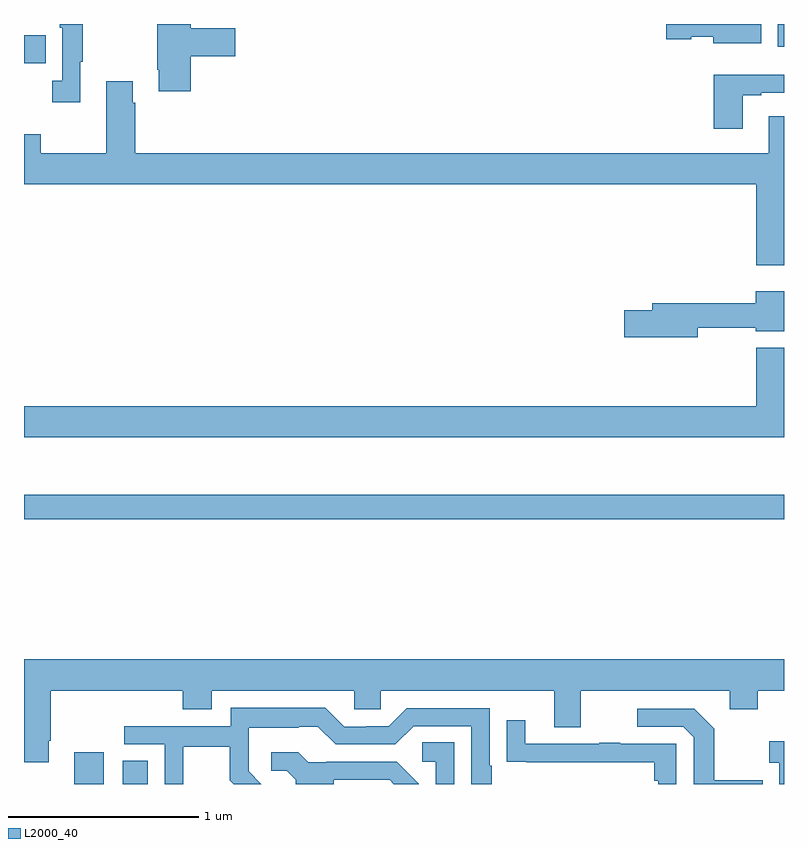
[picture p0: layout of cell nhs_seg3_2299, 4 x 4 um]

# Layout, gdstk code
import gdstk
lib = gdstk.Library(unit=1e-6, precision=1e-09)
def R(c, l, rs):  # rectangles x0, y0, x1, y1
    for r in rs: c.add(gdstk.rectangle(r[:2], r[2:], *l))
def P(c, l, *ps):  # polygons
    for p in ps: c.add(gdstk.Polygon(p, *l))
L2000_40 = (2000, 40)

nhs_seg3_2299 = lib.new_cell('nhs_seg3_2299')
R(nhs_seg3_2299, L2000_40, [(229.265,724.4,229.42,724.567), (229.52,724.4,229.651,724.523), (229,725.794,233,725.923), (229,728.194,229.115,728.341), (232.967,728.28,233,728.4)])
P(nhs_seg3_2299, L2000_40, [(232.879,728.4),(232.38,728.4),(232.38,728.321),(232.512,728.321),(232.512,728.333),(232.628,728.333),(232.628,728.3),(232.879,728.3)],
  [(229.877,728.231),(230.113,728.231),(230.113,728.378),(229.877,728.378),(229.877,728.4),(229.702,728.4),(229.702,728.158),(229.709,728.158),(229.709,728.046),(229.877,728.046)],
  [(229.297,728.201),(229.309,728.201),(229.309,728.4),(229.188,728.4),(229.188,728.381),(229.2,728.381),(229.2,728.102),(229.149,728.102),(229.149,727.989),(229.297,727.989)],
  [(232.783,728.025),(232.879,728.025),(232.879,728.037),(233,728.037),(233,728.134),(232.631,728.134),(232.631,727.848),(232.783,727.848)],
  [(233,727.915),(232.919,727.915),(232.919,727.72),(229.586,727.72),(229.586,727.985),(229.573,727.985),(229.573,728.098),(229.433,728.098),(229.433,727.72),(229.089,727.72),(229.089,727.819),(229,727.819),(229,727.556),(232.853,727.556),(232.853,727.131),(233,727.131)],
  [(232.546,726.801),(232.85,726.801),(232.85,726.782),(233,726.782),(233,726.994),(232.85,726.994),(232.85,726.929),(232.307,726.929),(232.307,726.893),(232.158,726.893),(232.158,726.751),(232.546,726.751)],
  [(233,726.697),(232.853,726.697),(232.853,726.388),(229,726.388),(229,726.224),(233,726.224)],
  [(229.129,724.627),(229.142,724.627),(229.142,724.892),(229.835,724.892),(229.835,724.793),(229.987,724.793),(229.987,724.892),(230.739,724.892),(230.739,724.794),(230.877,724.794),(230.877,724.892),(231.791,724.892),(231.791,724.698),(231.931,724.698),(231.931,724.892),(232.715,724.892),(232.715,724.793),(232.863,724.793),(232.863,724.892),(233,724.892),(233,725.056),(229,725.056),(229,724.515),(229.129,724.515)],
  [(229.839,724.596),(230.083,724.596),(230.083,724.421),(230.104,724.4),(230.248,724.4),(230.182,724.466),(230.182,724.563),(230.184,724.563),(230.184,724.697),(230.447,724.697),(230.447,724.701),(230.547,724.701),(230.64,724.608),(230.955,724.608),(231.051,724.704),(231.354,724.704),(231.354,724.4),(231.463,724.4),(231.463,724.495),(231.45,724.495),(231.45,724.8),(231.015,724.8),(230.919,724.704),(230.801,724.704),(230.801,724.701),(230.685,724.701),(230.585,724.801),(230.088,724.801),(230.088,724.704),(229.527,724.704),(229.527,724.608),(229.74,724.608),(229.74,724.4),(229.839,724.4)],
  [(232.889,724.419),(232.633,724.419),(232.633,724.691),(232.527,724.797),(232.227,724.797),(232.227,724.701),(232.47,724.701),(232.524,724.647),(232.524,724.4),(232.889,724.4)],
  [(232.434,724.611),(232.139,724.611),(232.139,724.616),(232.027,724.616),(232.027,724.611),(231.637,724.611),(231.637,724.735),(231.541,724.735),(231.541,724.516),(231.643,724.516),(231.643,724.515),(232.318,724.515),(232.318,724.418),(232.338,724.418),(232.338,724.4),(232.434,724.4)],
  [(233,724.624),(232.923,724.624),(232.923,724.511),(232.974,724.511),(232.974,724.4),(233,724.4)],
  [(231.264,724.619),(231.096,724.619),(231.096,724.518),(231.168,724.518),(231.168,724.4),(231.264,724.4)],
  [(230.629,724.422),(230.924,724.422),(230.946,724.4),(231.078,724.4),(231.078,724.402),(230.962,724.518),(230.59,724.518),(230.59,724.515),(230.496,724.515),(230.444,724.567),(230.301,724.567),(230.301,724.47),(230.382,724.47),(230.429,724.423),(230.429,724.4),(230.629,724.4)])

lib.write_gds('nhs_seg3_2299.gds')
